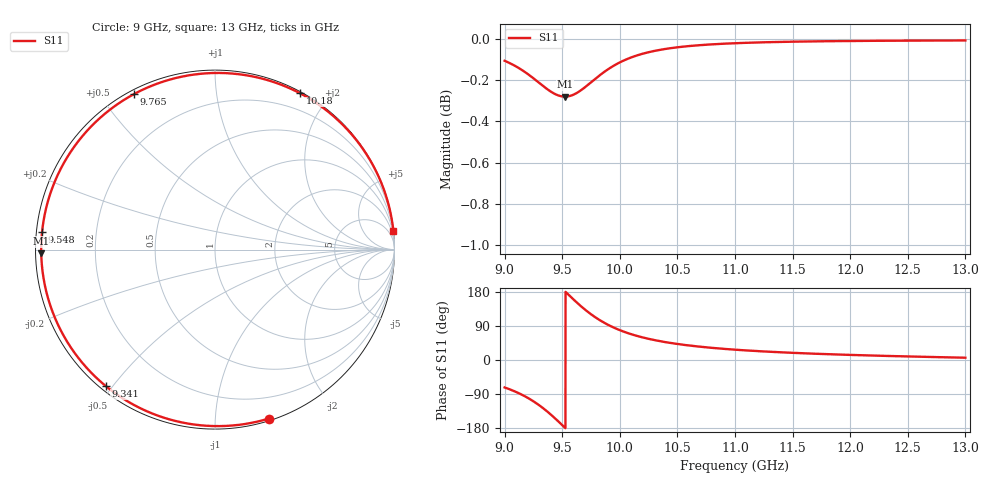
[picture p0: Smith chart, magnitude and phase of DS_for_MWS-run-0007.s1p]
! TOUCHSTONE file generated by CST DESIGN STUDIO
! Date and time: Tue Feb  4 17:31:01 2025
! Project name: C:\Work\MatlabApps\UnitCellOptimizationMatlab\CST\unitcell.cst
! Tree item: Tasks\Sweep1\SPara1\S-Parameters
! Header version: 2024
! Port assignment regex: !\s*Touchstone port\s*([0-9]+)\s*=\s*(CST MWS port|CST DES external port|CST DES block port)\s*(.+)\s* \(\"(.*)\"\)(\s*mode\s*([0-9]+))?.*
! Touchstone port assignment:
! Touchstone port 1 = CST DES external port 1 ("")
# GHz S MA R 50
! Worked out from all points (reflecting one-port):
!   4001 points, 9 GHz to 13 GHz, reference 50 ohm
!   lowest |S11| = -0.3 dB at 9.524 GHz (marker M1), VSWR 62.22, Z = 0.804 - j0.546 ohm
!   phase of S11 starts at -72 deg and turns -282 deg over the sweep
!   S11 on the Smith chart (normalised r, x): 9 GHz: 0.02, -1.37; 9.341 GHz: 0.02, -0.48; 9.548 GHz: 0.02, +0.05; 9.765 GHz: 0.02, +0.61; 10.18 GHz: 0.02, +1.68; 13 GHz: 0, +19
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9  0.988 -72.4
9.094  0.9851 -83.6
9.2  0.9807 -99.7
9.274  0.9772 -113.8
9.341  0.9738 -128.7
9.384  0.9718 -139.5
9.429  0.9701 -151.5
9.5  0.9685 -171.7
9.524  0.9684 -178.7
9.548  0.9685 174.2
9.602  0.9695 158.6
9.662  0.9718 142.2
9.713  0.9742 129.3
9.765  0.9769 117.5
9.814  0.9794 107.5
9.868  0.982 97.7
9.934  0.9848 87.5
10  0.9871 78.8
10.084  0.9895 69.5
10.175  0.9915 61.4
10.323  0.9937 51.2
10.5  0.9955 42.3
10.722  0.9968 34.3
11  0.9978 27.2
11.5  0.9986 18.9
12  0.999 13.4
12.5  0.9992 9.4
13  0.9993 6.0
